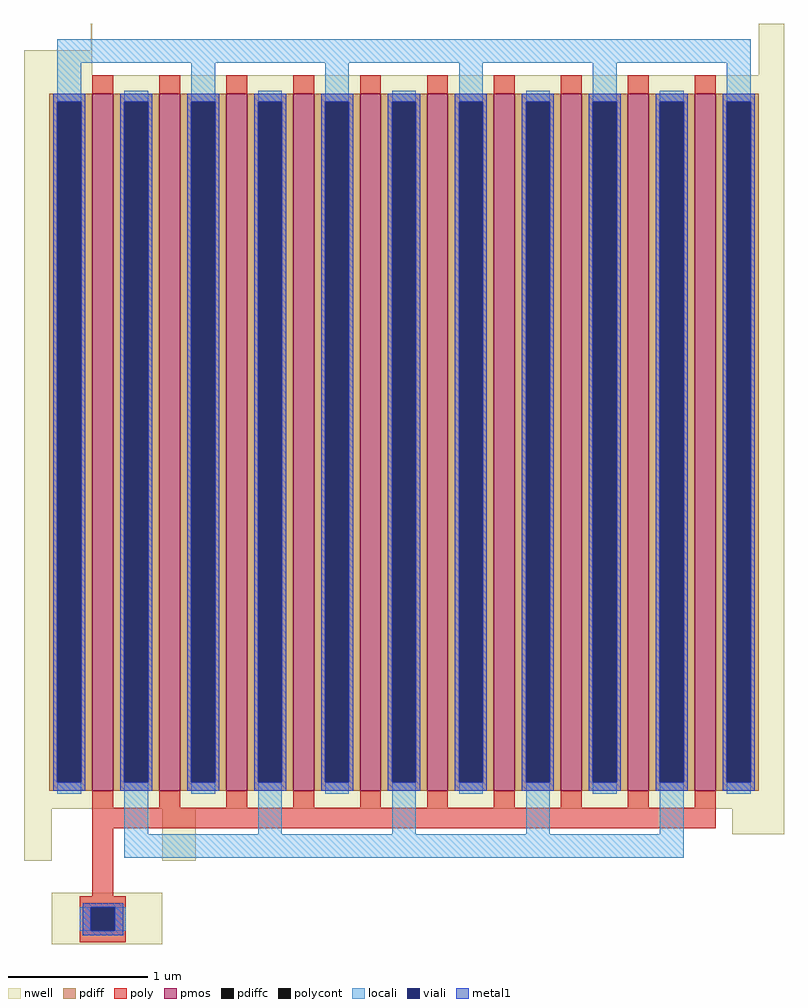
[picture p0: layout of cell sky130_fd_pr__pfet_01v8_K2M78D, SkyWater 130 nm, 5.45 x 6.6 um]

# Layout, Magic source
magic
tech sky130A
magscale 1 2
<< nwell >>
rect -449 562 -447 600
rect -545 526 -447 562
rect 509 526 545 600
rect -545 -526 545 526
rect -545 -600 -505 -526
rect -347 -600 -299 -526
rect 471 -562 545 -526
rect -505 -720 -347 -646
<< pmos >>
rect -447 -500 -417 500
rect -351 -500 -321 500
rect -255 -500 -225 500
rect -159 -500 -129 500
rect -63 -500 -33 500
rect 33 -500 63 500
rect 129 -500 159 500
rect 225 -500 255 500
rect 321 -500 351 500
rect 417 -500 447 500
<< pdiff >>
rect -509 488 -447 500
rect -509 -488 -497 488
rect -463 -488 -447 488
rect -509 -500 -447 -488
rect -417 488 -351 500
rect -417 -488 -401 488
rect -367 -488 -351 488
rect -417 -500 -351 -488
rect -321 488 -255 500
rect -321 -488 -305 488
rect -271 -488 -255 488
rect -321 -500 -255 -488
rect -225 488 -159 500
rect -225 -488 -209 488
rect -175 -488 -159 488
rect -225 -500 -159 -488
rect -129 488 -63 500
rect -129 -488 -113 488
rect -79 -488 -63 488
rect -129 -500 -63 -488
rect -33 488 33 500
rect -33 -488 -17 488
rect 17 -488 33 488
rect -33 -500 33 -488
rect 63 488 129 500
rect 63 -488 79 488
rect 113 -488 129 488
rect 63 -500 129 -488
rect 159 488 225 500
rect 159 -488 175 488
rect 209 -488 225 488
rect 159 -500 225 -488
rect 255 488 321 500
rect 255 -488 271 488
rect 305 -488 321 488
rect 255 -500 321 -488
rect 351 488 417 500
rect 351 -488 367 488
rect 401 -488 417 488
rect 351 -500 417 -488
rect 447 488 509 500
rect 447 -488 463 488
rect 497 -488 509 488
rect 447 -500 509 -488
<< pdiffc >>
rect -497 -488 -463 488
rect -401 -488 -367 488
rect -305 -488 -271 488
rect -209 -488 -175 488
rect -113 -488 -79 488
rect -17 -488 17 488
rect 79 -488 113 488
rect 175 -488 209 488
rect 271 -488 305 488
rect 367 -488 401 488
rect 463 -488 497 488
<< poly >>
rect -447 500 -417 526
rect -351 500 -321 526
rect -255 500 -225 526
rect -159 500 -129 526
rect -63 500 -33 526
rect 33 500 63 526
rect 129 500 159 526
rect 225 500 255 526
rect 321 500 351 526
rect 417 500 447 526
rect -447 -524 -417 -500
rect -351 -524 -321 -500
rect -255 -524 -225 -500
rect -159 -524 -129 -500
rect -63 -524 -33 -500
rect 33 -524 63 -500
rect 129 -524 159 -500
rect 225 -524 255 -500
rect 321 -524 351 -500
rect 417 -524 447 -500
rect -447 -554 447 -524
rect -447 -651 -417 -554
rect -465 -667 -399 -651
rect -465 -701 -449 -667
rect -415 -701 -399 -667
rect -465 -717 -399 -701
<< polycont >>
rect -449 -701 -415 -667
<< locali >>
rect -497 544 497 578
rect -497 488 -463 544
rect -497 -504 -463 -488
rect -401 488 -367 504
rect -401 -562 -367 -488
rect -305 488 -271 544
rect -305 -504 -271 -488
rect -209 488 -175 504
rect -209 -562 -175 -488
rect -113 488 -79 544
rect -113 -504 -79 -488
rect -17 488 17 504
rect -17 -562 17 -488
rect 79 488 113 544
rect 79 -504 113 -488
rect 175 488 209 504
rect 175 -562 209 -488
rect 271 488 305 544
rect 271 -504 305 -488
rect 367 488 401 504
rect 367 -562 401 -488
rect 463 488 497 544
rect 463 -504 497 -488
rect -401 -596 401 -562
rect -465 -701 -449 -667
rect -415 -701 -399 -667
<< viali >>
rect -497 -488 -463 488
rect -401 -488 -367 488
rect -305 -488 -271 488
rect -209 -488 -175 488
rect -113 -488 -79 488
rect -17 -488 17 488
rect 79 -488 113 488
rect 175 -488 209 488
rect 271 -488 305 488
rect 367 -488 401 488
rect 463 -488 497 488
rect -449 -701 -415 -667
<< metal1 >>
rect -503 488 -457 500
rect -503 -488 -497 488
rect -463 -488 -457 488
rect -503 -500 -457 -488
rect -407 488 -361 500
rect -407 -488 -401 488
rect -367 -488 -361 488
rect -407 -500 -361 -488
rect -311 488 -265 500
rect -311 -488 -305 488
rect -271 -488 -265 488
rect -311 -500 -265 -488
rect -215 488 -169 500
rect -215 -488 -209 488
rect -175 -488 -169 488
rect -215 -500 -169 -488
rect -119 488 -73 500
rect -119 -488 -113 488
rect -79 -488 -73 488
rect -119 -500 -73 -488
rect -23 488 23 500
rect -23 -488 -17 488
rect 17 -488 23 488
rect -23 -500 23 -488
rect 73 488 119 500
rect 73 -488 79 488
rect 113 -488 119 488
rect 73 -500 119 -488
rect 169 488 215 500
rect 169 -488 175 488
rect 209 -488 215 488
rect 169 -500 215 -488
rect 265 488 311 500
rect 265 -488 271 488
rect 305 -488 311 488
rect 265 -500 311 -488
rect 361 488 407 500
rect 361 -488 367 488
rect 401 -488 407 488
rect 361 -500 407 -488
rect 457 488 503 500
rect 457 -488 463 488
rect 497 -488 503 488
rect 457 -500 503 -488
rect -461 -667 -403 -661
rect -461 -701 -449 -667
rect -415 -701 -403 -667
rect -461 -707 -403 -701
<< properties >>
string gencell sky130_fd_pr__pfet_01v8
string parameters w 5 l 0.15 m 1 nf 10 diffcov 100 polycov 100 guard 0 glc 0 grc 0 gtc 0 gbc 0 tbcov 100 rlcov 100 topc 1 botc 0 poverlap 0 doverlap 1 lmin 0.15 wmin 0.42 compatible {sky130_fd_pr__pfet_01v8  sky130_fd_pr__pfet_01v8_lvt sky130_fd_pr__pfet_01v8_hvt  sky130_fd_pr__pfet_g5v0d10v5} full_metal 0 viasrc 100 viadrn 100 viagate 100 viagb 0 viagr 0 viagl 0 viagt 0
string library sky130
<< end >>
